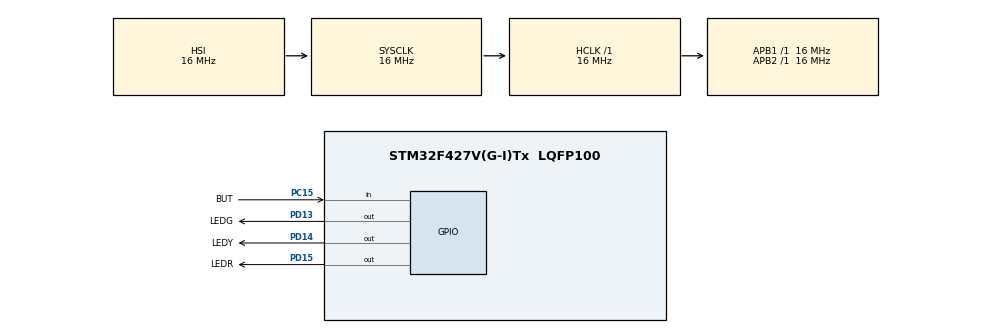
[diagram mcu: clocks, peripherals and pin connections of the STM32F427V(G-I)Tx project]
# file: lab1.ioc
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Mcu.Family=STM32F4
Mcu.Name=STM32F427V(G-I)Tx
Mcu.Package=LQFP100
NVIC.PriorityGroup=NVIC_PRIORITYGROUP_4
NVIC.RCC_IRQn=true\:0\:0\:false\:false\:true\:true\:false\:true
NVIC.TIM1_UP_TIM10_IRQn=true\:0\:0\:false\:false\:true\:true\:true\:true
PA10.Signal=S_TIM1_CH3
PA13.Mode=JTAG_5_pins
PA13.Signal=SYS_JTMS-SWDIO
PA14.Mode=JTAG_5_pins
PA14.Signal=SYS_JTCK-SWCLK
PA15.Mode=JTAG_5_pins
PA15.Signal=SYS_JTDI
PB3.Mode=JTAG_5_pins
PB3.Signal=SYS_JTDO-SWO
PB4.Mode=JTAG_5_pins
PB4.Signal=SYS_JTRST
PC15/OSC32_OUT.GPIO_Label=BUT
PC15/OSC32_OUT.Signal=GPIO_Input
PD13.GPIO_Label=LEDG
PD13.Signal=GPIO_Output
PD14.GPIO_Label=LEDY
PD14.Signal=GPIO_Output
PD15.GPIO_Label=LEDR
PD15.Signal=GPIO_Output
PH0/OSC_IN.Mode=HSE-External-Oscillator
PH0/OSC_IN.Signal=RCC_OSC_IN
PH1/OSC_OUT.Mode=HSE-External-Oscillator
PH1/OSC_OUT.Signal=RCC_OSC_OUT
ProjectManager.HeapSize=0x200
ProjectManager.StackSize=0x400
ProjectManager.TargetToolchain=STM32CubeIDE
RCC.48MHZClocksFreq_Value=75000000
RCC.AHBFreq_Value=16000000
RCC.APB1Freq_Value=16000000
RCC.APB2Freq_Value=16000000
RCC.CortexFreq_Value=16000000
RCC.HSE_VALUE=25000000
RCC.HSI_VALUE=16000000
RCC.LSE_VALUE=32768
RCC.PLLSourceVirtual=RCC_PLLSOURCE_HSE
RCC.SYSCLKFreq_VALUE=16000000
RCC.VCOOutputFreq_Value=300000000
SH.S_TIM1_CH3.0=TIM1_CH3
TIM1.Channel-Output\ Compare3\ No\ Output=TIM_CHANNEL_3
TIM1.Period=15-1 
TIM1.Prescaler=16000-1
VP_TIM1_VS_no_output3.Mode=Output Compare3 No Output
board=custom

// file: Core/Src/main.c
/* USER CODE BEGIN Header */
/**
  ******************************************************************************
  * @file           : main.c
  * @brief          : Main program body
  ******************************************************************************
  * @attention
  *
  * Copyright (c) 2023 STMicroelectronics.
  * All rights reserved.
  *
  * This software is licensed under terms that can be found in the LICENSE file
  * in the root directory of this software component.
  * If no LICENSE file comes with this software, it is provided AS-IS.
  *
  ******************************************************************************
  */
/* USER CODE END Header */
#include "main.h"

/* USER CODE BEGIN PTD */
#define LONG_PERIOD_CT 125
#define BUFFER_SIZE 2048
#define DEFAULT_DELAY 200
#define ERROR_DELAY 600
#define ERROR_COUNT 2
#define COMMA_DELAY DEFAULT_DELAY
#define DASH_DELAY 1000
/* USER CODE END PTD */

TIM_HandleTypeDef htim1;

/* USER CODE BEGIN PV */
int is_pressed = 0; // нажата ли кнопка, устанавливается в таймере
int is_wait_unpressed = 0; // ожидаем ли отпускание кнопки
int is_reading = 1; // есть ли что в памяти чтобы читать (можно pointer сделать глобальным и проверять на ноль
int count_tick = 0; // кол-во тиков таймера в текущем состоянии is_pressed, устанавливается в таймере
int noisy = 0; // доп проверка для дребезга
/* USER CODE END PV */

void SystemClock_Config(void);
static void MX_GPIO_Init(void);
static void MX_TIM1_Init(void);
/* USER CODE BEGIN PFP */
void send_message(int buffer[], int pointer);
/* USER CODE END PFP */

/* USER CODE BEGIN 0 */
void send_message(int buffer[], int pointer) {
	for (int i = 0; i < pointer; i++) {
		turn_on_green_led();
		if (1 == buffer[i]) {
			HAL_Delay(DASH_DELAY);
		} else {
			HAL_Delay(COMMA_DELAY);
		}
		turn_off_green_led();
		HAL_Delay(DEFAULT_DELAY);
	}
}
/* USER CODE END 0 */

int main(void)
{

  /* MCU Configuration--------------------------------------------------------*/

  /* Reset of all peripherals, Initializes the Flash interface and the Systick. */
  HAL_Init();

  /* Configure the system clock */
  SystemClock_Config();

  /* Initialize all configured peripherals */
  MX_GPIO_Init();
  MX_TIM1_Init();

  /* Infinite loop */
  /* USER CODE BEGIN WHILE */
  int buffer[BUFFER_SIZE] = {0};
  int pointer = 0;
  HAL_TIM_Base_Start_IT((TIM_HandleTypeDef *)&htim1);
  while (1)
  {
    /* USER CODE END WHILE */

    /* USER CODE BEGIN 3 */
	  if (0 == is_pressed && 0 == is_wait_unpressed) {
		  if (count_tick > LONG_PERIOD_CT && 0 != pointer){
			  is_reading = 0;
			  send_message(buffer, pointer);
			  pointer = 0;
			  is_reading = 1;
		  }
	  } else if (0 == is_pressed && 1 == is_wait_unpressed) {
		  is_wait_unpressed = 0;
		  if (count_tick > LONG_PERIOD_CT) {
			  turn_on_red_led();
			  HAL_Delay(DEFAULT_DELAY);
			  turn_off_red_led();
			  buffer[pointer] = 1;
		  } else {
			  turn_on_yellow_led();
			  HAL_Delay(DEFAULT_DELAY);
			  turn_off_yellow_led();
			  buffer[pointer] = 0;
		  }
		  count_tick = 0;
		  pointer++;
		  if (BUFFER_SIZE == pointer) {
			  for (int i = 0; i < ERROR_COUNT; i++) {
				  turn_on_red_led();
				  turn_on_green_led();
				  HAL_Delay(ERROR_DELAY);
				  turn_off_red_led();
				  turn_off_green_led();
				  HAL_Delay(ERROR_DELAY);
			  }
			  send_message(buffer, pointer);
			  pointer = 0;
		  }
	  } else if (1 == is_pressed && 0 == is_wait_unpressed) {
		  is_wait_unpressed = 1;
		  count_tick = 0;
	  }
  }
  /* USER CODE END 3 */
}

void SystemClock_Config(void)
{
  RCC_OscInitTypeDef RCC_OscInitStruct = {0};
  RCC_ClkInitTypeDef RCC_ClkInitStruct = {0};

  /** Configure the main internal regulator output voltage
  */
  __HAL_RCC_PWR_CLK_ENABLE();
  __HAL_PWR_VOLTAGESCALING_CONFIG(PWR_REGULATOR_VOLTAGE_SCALE3);

  /** Initializes the RCC Oscillators according to the specified parameters
  * in the RCC_OscInitTypeDef structure.
  */
  RCC_OscInitStruct.OscillatorType = RCC_OSCILLATORTYPE_HSI;
  RCC_OscInitStruct.HSIState = RCC_HSI_ON;
  RCC_OscInitStruct.HSICalibrationValue = RCC_HSICALIBRATION_DEFAULT;
  RCC_OscInitStruct.PLL.PLLState = RCC_PLL_NONE;
  if (HAL_RCC_OscConfig(&RCC_OscInitStruct) != HAL_OK)
  {
    Error_Handler();
  }

  /** Initializes the CPU, AHB and APB buses clocks
  */
  RCC_ClkInitStruct.ClockType = RCC_CLOCKTYPE_HCLK|RCC_CLOCKTYPE_SYSCLK
                              |RCC_CLOCKTYPE_PCLK1|RCC_CLOCKTYPE_PCLK2;
  RCC_ClkInitStruct.SYSCLKSource = RCC_SYSCLKSOURCE_HSI;
  RCC_ClkInitStruct.AHBCLKDivider = RCC_SYSCLK_DIV1;
  RCC_ClkInitStruct.APB1CLKDivider = RCC_HCLK_DIV1;
  RCC_ClkInitStruct.APB2CLKDivider = RCC_HCLK_DIV1;

  if (HAL_RCC_ClockConfig(&RCC_ClkInitStruct, FLASH_LATENCY_0) != HAL_OK)
  {
    Error_Handler();
  }
}

static void MX_TIM1_Init(void)
{

  TIM_MasterConfigTypeDef sMasterConfig = {0};
  TIM_OC_InitTypeDef sConfigOC = {0};
  TIM_BreakDeadTimeConfigTypeDef sBreakDeadTimeConfig = {0};

  htim1.Instance = TIM1;
  htim1.Init.Prescaler = 16000-1;
  htim1.Init.CounterMode = TIM_COUNTERMODE_UP;
  htim1.Init.Period = 15-1 ;
  htim1.Init.ClockDivision = TIM_CLOCKDIVISION_DIV1;
  htim1.Init.RepetitionCounter = 0;
  htim1.Init.AutoReloadPreload = TIM_AUTORELOAD_PRELOAD_DISABLE;
  if (HAL_TIM_OC_Init(&htim1) != HAL_OK)
  {
    Error_Handler();
  }
  sMasterConfig.MasterOutputTrigger = TIM_TRGO_RESET;
  sMasterConfig.MasterSlaveMode = TIM_MASTERSLAVEMODE_DISABLE;
  if (HAL_TIMEx_MasterConfigSynchronization(&htim1, &sMasterConfig) != HAL_OK)
  {
    Error_Handler();
  }
  sConfigOC.OCMode = TIM_OCMODE_TIMING;
  sConfigOC.Pulse = 0;
  sConfigOC.OCPolarity = TIM_OCPOLARITY_HIGH;
  sConfigOC.OCNPolarity = TIM_OCNPOLARITY_HIGH;
  sConfigOC.OCFastMode = TIM_OCFAST_DISABLE;
  sConfigOC.OCIdleState = TIM_OCIDLESTATE_RESET;
  sConfigOC.OCNIdleState = TIM_OCNIDLESTATE_RESET;
  if (HAL_TIM_OC_ConfigChannel(&htim1, &sConfigOC, TIM_CHANNEL_3) != HAL_OK)
  {
    Error_Handler();
  }
  sBreakDeadTimeConfig.OffStateRunMode = TIM_OSSR_DISABLE;
  sBreakDeadTimeConfig.OffStateIDLEMode = TIM_OSSI_DISABLE;
  sBreakDeadTimeConfig.LockLevel = TIM_LOCKLEVEL_OFF;
  sBreakDeadTimeConfig.DeadTime = 0;
  sBreakDeadTimeConfig.BreakState = TIM_BREAK_DISABLE;
  sBreakDeadTimeConfig.BreakPolarity = TIM_BREAKPOLARITY_HIGH;
  sBreakDeadTimeConfig.AutomaticOutput = TIM_AUTOMATICOUTPUT_DISABLE;
  if (HAL_TIMEx_ConfigBreakDeadTime(&htim1, &sBreakDeadTimeConfig) != HAL_OK)
  {
    Error_Handler();
  }

}

static void MX_GPIO_Init(void)
{
  GPIO_InitTypeDef GPIO_InitStruct = {0};

  /* GPIO Ports Clock Enable */
  __HAL_RCC_GPIOC_CLK_ENABLE();
  __HAL_RCC_GPIOH_CLK_ENABLE();
  __HAL_RCC_GPIOD_CLK_ENABLE();
  __HAL_RCC_GPIOA_CLK_ENABLE();
  __HAL_RCC_GPIOB_CLK_ENABLE();

  /*Configure GPIO pin Output Level */
  HAL_GPIO_WritePin(GPIOD, LEDG_Pin|LEDY_Pin|LEDR_Pin, GPIO_PIN_RESET);

  /*Configure GPIO pin : BUT_Pin */
  GPIO_InitStruct.Pin = BUT_Pin;
  GPIO_InitStruct.Mode = GPIO_MODE_INPUT;
  GPIO_InitStruct.Pull = GPIO_NOPULL;
  HAL_GPIO_Init(BUT_GPIO_Port, &GPIO_InitStruct);

  /*Configure GPIO pins : LEDG_Pin LEDY_Pin LEDR_Pin */
  GPIO_InitStruct.Pin = LEDG_Pin|LEDY_Pin|LEDR_Pin;
  GPIO_InitStruct.Mode = GPIO_MODE_OUTPUT_PP;
  GPIO_InitStruct.Pull = GPIO_NOPULL;
  GPIO_InitStruct.Speed = GPIO_SPEED_FREQ_LOW;
  HAL_GPIO_Init(GPIOD, &GPIO_InitStruct);

}

/* USER CODE BEGIN 4 */
void HAL_TIM_PeriodElapsedCallback(TIM_HandleTypeDef *htim)
{
	if(htim->Instance==TIM1)
	{
		int but = HAL_GPIO_ReadPin(BUT_GPIO_Port, BUT_Pin);
		but = !but;

		if(is_reading == 1){
			if(but == 1 && noisy == 0){
				noisy = 1;
			} else if(but == 1 && noisy == 1) {
				is_pressed = 1;
				count_tick++;
			} else if(noisy == 1 && but == 0){
				noisy = 0;
			} else if(but == 0 && noisy == 0){
				is_pressed = 0;
				count_tick++;
			}
		}
	}

}
/* USER CODE END 4 */

void Error_Handler(void)
{
  __disable_irq();
  while (1)
  {
  }
}
